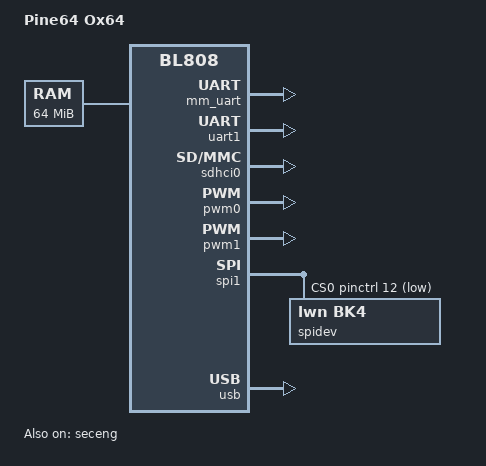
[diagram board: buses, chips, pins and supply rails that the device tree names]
// SPDX-License-Identifier: (GPL-2.0+ or MIT)

/dts-v1/;

#include "bl808.dtsi"
#include <dt-bindings/gpio/gpio.h>
#include <dt-bindings/leds/common.h>
#include <dt-bindings/pinctrl/pinctrl-bflb.h>

/ {
	model = "Pine64 Ox64";
	compatible = "pine64,ox64", "bflb,bl808";

	aliases {
		serial0 = &mm_uart;
		serial1 = &uart1;
	};

	chosen {
		stdout-path = "serial0:2000000n8";
		bootargs = "console=ttyS0,2000000 loglevel=8 earlycon=sbi mtdparts=bflb_sflash:128K(m0-ll),128K(d0-ll),704K(sbi-uboot),64K(uboot-env),4M(kernel),8M(rootfs),3M(rootfs-data) rootfstype=squashfs root=/dev/mtdblock5 init=/sbin/init.sh";
		linux,initrd-start = <0x0 0x52000000>;
		linux,initrd-end = <0x0 0x52941784>;
	};

	memory@50000000 {
		device_type = "memory";
		reg = <0x50000000 0x04000000>;
	};
	reserved-memory {
		#address-cells = <1>;
		#size-cells = <1>;
		ranges;

		m0_psram_reserved: m0_psram@53F00000 {
			reg = <0x53F00000 0x100000>;
			status = "okay";
		};
	};

	flash@2000b000 {
		compatible = "bflb,bl808-sflash";
		reg = <0x2000b000 0x1000 0x40001000 0x1000>;
		#address-cells = <1>;
		#size-cells = <1>;
	};
};

&pinctrl {
	status = "okay";

	mm_uart_pins: mm-uart-grp0 {
		bflb,pin-function = <BFLB_PINMUX_FUNC_MM_UART>;
		bflb,pins = <0 16 &pin_cfg_default>,
					<0 17 &pin_cfg_default>;
	};

	spidev_pins: spidev-pins {
		bflb,pin-function = <BFLB_PINMUX_FUNC_MM_SPI>;
		bflb,pins = <0 23 &pin_cfg_default>, // sck
					<0 21 &pin_cfg_default>, // mosi
					<0 22 &pin_cfg_input_enable>; // miso
	};
};

&seceng {
	status = "okay";
};

&mm_uart {
	status = "okay";
	pinctrl-names = "default";
	pinctrl-0 = <&mm_uart_pins>;
};

&uart1 {
	status = "okay";
};

&sdhci0 {
	status = "okay";
};

&pwm0 {
	status = "okay";
};

&pwm1 {
	status = "okay";
};

&spi1 {
	status = "okay";
	num-cs = <1>;

	cs-gpios = <&pinctrl 12 GPIO_ACTIVE_LOW>;
	spidev@0 {
		compatible = "lwn,bk4";
		reg = <0>;
		status = "okay";
		pinctrl-names = "default";
		pinctrl-0 = <&spidev_pins>;
	};
};

&usb {
	status = "okay";
};
